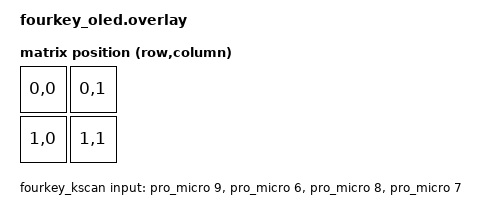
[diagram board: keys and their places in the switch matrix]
/*
 * fourkey_oled - Rev E 4 键直连蓝牙键盘 + SSD1306 OLED
 *
 * GPIO 按用户最终 PCB 物理接线（用户 2026-11-15 实测确认）：
 *   key1 = P1.06 = J1-12 = D9   按下 → GND（内部上拉）
 *   key2 = P1.00 = J1-9  = D6   按下 → GND
 *   key3 = P1.04 = J1-11 = D8   按下 → GND
 *   key4 = P0.11 = J1-10 = D7   按下 → GND
 *
 * 位置索引 = input-gpios 顺序：0=key1, 1=key2, 2=key3, 3=key4，
 * 与 fourkey_oled.keymap 的第 1~4 个 binding 一一对应。
 * （ZMK main 引入 physical layouts 体系后，需 physical_layout 节点 + 矩阵变换
 *   才能确定 keymap 尺寸，本文件按官方 hardware-integration/physical-layouts.md 写法。）
 *
 * OLED：SSD1306 I2C 0x3C，SDA = D2/P0.17，SCL = D3/P0.20
 * （= nice!nano / SuperMini 的 &pro_micro_i2c 默认引脚）。
 */

#include <dt-bindings/zmk/bt.h>
#include <dt-bindings/zmk/keys.h>
#include <dt-bindings/zmk/matrix_transform.h>
#include <dt-bindings/pinctrl/nrf-pinctrl.h>
#include <physical_layouts.dtsi>

/ {
    chosen {
        /* ZMK 现行要求：zephyr,display 供显示子系统，zmk,display 供状态屏组件 */
        zephyr,display = &oled;
        zmk,kscan = &fourkey_kscan;
        zmk,display = &oled;
    };

    /* 矩阵变换：直连 kscan 无行列，用虚拟 2 行 × 2 列对应 2×2 实物排布
       位置顺序（先第一排后第二排，从左到右）：
       0=K1 左上  1=K2 右上  2=K3 左下  3=K4 右下 */
    default_transform: keymap_transform_0 {
        compatible = "zmk,matrix-transform";
        columns = <2>;
        rows = <2>;
        map = <
            RC(0,0) RC(0,1)
            RC(1,0) RC(1,1)
        >;
    };

    /* 物理布局：2×2 键阵（坐标单位约 1u），keys 属性为 ZMK Studio 可选支持 */
    physical_layout0: physical_layout_0 {
        compatible = "zmk,physical-layout";
        display-name = "Default";
        transform = <&default_transform>;
        kscan = <&fourkey_kscan>;
        keys  //                     w   h    x    y     rot    rx    ry
            = <&key_physical_attrs 100 100    0    0       0     0     0>
            , <&key_physical_attrs 100 100  100    0       0     0     0>
            , <&key_physical_attrs 100 100    0  100       0     0     0>
            , <&key_physical_attrs 100 100  100  100       0     0     0>
            ;
    };

    /* 标签 + 节点名：&fourkey_kscan 引用标签 */
    fourkey_kscan: fourkey_kscan {
        compatible = "zmk,kscan-gpio-direct";
        input-gpios =
            <&pro_micro 9 (GPIO_ACTIVE_LOW | GPIO_PULL_UP)>,
            <&pro_micro 6 (GPIO_ACTIVE_LOW | GPIO_PULL_UP)>,
            <&pro_micro 8 (GPIO_ACTIVE_LOW | GPIO_PULL_UP)>,
            <&pro_micro 7 (GPIO_ACTIVE_LOW | GPIO_PULL_UP)>;
        /* 机械按键消抖：按下 20 ms / 释放 25 ms，按实际手感可调
           属性名见 zmk,kscan-gpio-direct 绑定：debounce-press-ms / debounce-release-ms */
        debounce-press-ms = <20>;
        debounce-release-ms = <25>;
        /* 电池开关 OFF 时用 &soft_off 关机后，按任意键唤醒 */
        wakeup-source;
    };
};

/* [B13] I2C0 从旧式 TWI（阻塞无超时，总线异常会挂死整个启动）
   换成 TWIM（nrfx 传输超时 500ms，异常时干净报错），
   并给 SDA/SCL 加内部上拉，防止浮空总线卡死。
   SDA = P0.17 (D2)，SCL = P0.20 (D3)。 */
&pinctrl {
    i2c0_twim_default: i2c0_twim_default {
        group1 {
            psels = <NRF_PSEL(TWIM_SDA, 0, 17)>,
                    <NRF_PSEL(TWIM_SCL, 0, 20)>;
            bias-pull-up;
        };
    };
    i2c0_twim_sleep: i2c0_twim_sleep {
        group1 {
            psels = <NRF_PSEL(TWIM_SDA, 0, 17)>,
                    <NRF_PSEL(TWIM_SCL, 0, 20)>;
            low-power-enable;
        };
    };
};

&i2c0 {
    compatible = "nordic,nrf-twim";
    status = "okay";
    clock-frequency = <100000>;   /* 标准 100kHz，国产 OLED 模块 400k 易不稳 */
    pinctrl-0 = <&i2c0_twim_default>;
    pinctrl-1 = <&i2c0_twim_sleep>;
    pinctrl-names = "default", "sleep";
};

&pro_micro_i2c {
    status = "okay";

    oled: ssd1306@3c {
        /* 判读记录：B18 用 sinowealth,sh1106（页寻址+DCDC 0xAD）→ 黑屏，
           证明屏接受充电泵命令 0x8D（B17 点亮乱码）、不接受 DCDC →
           屏为 SSD1306/SSD1315 家族，非 SH1106。
           B17 同配置乱码的候选原因：remap 旗标/数据写入损坏。
           USB 日志开启（conf），刷入后抓串口启动日志看驱动报错。 */
        compatible = "solomon,ssd1306fb";
        reg = <0x3c>;
        width = <128>;
        height = <64>;          /* 128x32 模块：改 <32> 并把 multiplex-ratio 改 <31> */
        segment-offset = <0>;
        page-offset = <0>;
        display-offset = <0>;
        multiplex-ratio = <63>; /* 128x32 模块改 <31> */
        segment-remap;          /* 模块若左右镜像，删掉本行再试 */
        com-invdir;             /* 128x32 模块一般改 com-sequential */
        prechargep = <0x22>;
        /* contrast 不在 Zephyr 4.1 绑定中（DT 校验会报错），默认对比度即可 */
    };
};

/* [B12 诊断] USB CDC 串口日志通道（对应 CONFIG_ZMK_USB_LOGGING=y） */
&zephyr_udc0 {
    cdc_acm_uart0: cdc_acm_uart0 {
        compatible = "zephyr,cdc-acm-uart";
    };
};

/ {
    chosen {
        zephyr,console = &cdc_acm_uart0;
        zephyr,shell-uart = &cdc_acm_uart0;
    };
};
